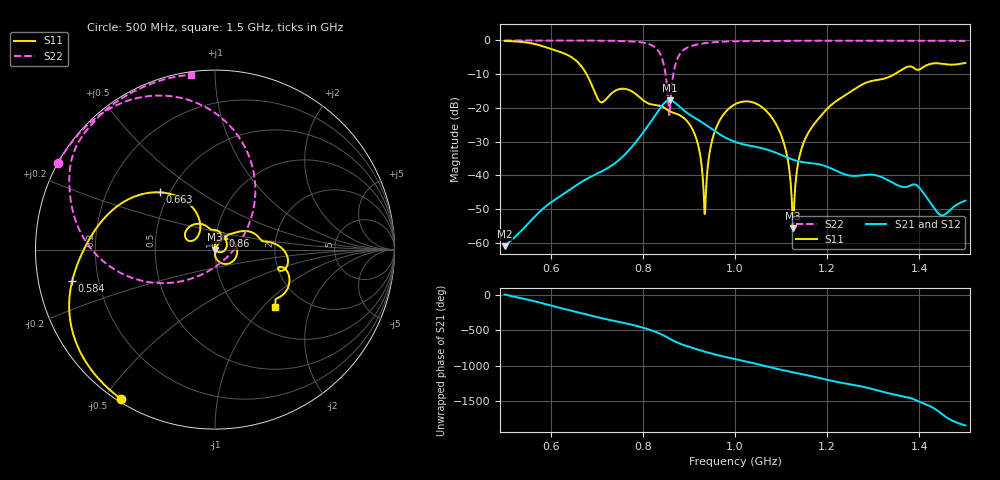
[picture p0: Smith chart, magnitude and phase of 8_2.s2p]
! TOUCHSTONE file generated by CST MICROWAVE STUDIO
! Date and time: Wed Oct 28 19:34:32 2020
! Project name: Scenario_1_Circular_Tissue_out_of_Line_v2.cst
! Parameters = {dy1=-224.9; L_HA=400; MT=2.54; Rad_Dielectric=30; Rad_Lower=7.3; Rad_Upper=30; a_HA=580; a_WG=246; b_HA=500; b_WG=121; c_HA=0; c_WG=187; d_feed=85; dx1=346; h_feed=15; h_lower=18; h_upper=40}
! Header version: 2018
! Port assignment regex: !\s*Touchstone port\s*([0-9]+)\s*=\s*(CST MWS port|CST DS port)\s*([0-9]+|Zmin|Zmax)\s*\(\"(.*)\"\)(\s*mode\s*([0-9]+))?.*
! Touchstone port assignment:
! Touchstone port 1 = CST MWS port 1 ("")
! Touchstone port 2 = CST MWS port 2 ("")
# GHz S DB R 50
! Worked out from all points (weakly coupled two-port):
!   1003 points, 500 MHz to 1.5 GHz, reference 50 ohm
!   highest |S21| = -17.73 dB at 858 MHz (marker M1); lowest = -61.0 dB at 500 MHz (marker M2)
!   lowest |S11| = -55.7 dB at 1.126 GHz (marker M3), VSWR 1.00, Z = 50.2 - j0.0457 ohm
!   |S11| at or under -10 dB: 677.8 MHz to 1.346 GHz (668.4 MHz wide, 66 % of centre)
!   |S22| runs from -22.1 to 0.0 dB; largest |S21 - S12| = 2.7e-06
!   S11 on the Smith chart (normalised r, x): 500 MHz: 0.01, -0.55; 584 MHz: 0.10, -0.11; 663 MHz: 0.44, +0.35; 860 MHz: 1.08, +0.16; 1.5 GHz: 1.44, -1.17
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0.5  -0.15 -122.3  -60.96 10.1  -60.96 10.1  -0.01 151.1
0.584  -1.77 -167.6  -49.78 -117.3  -49.78 -117.3  -0.02 145.3
0.663  -7.06 134.0  -42.29 110.6  -42.29 110.6  -0.04 138.8
0.667  -7.73 130.2  -41.94 103.9  -41.94 103.9  -0.04 138.4
0.708  -18.26 139.2  -38.98 37.9  -38.98 37.9  -0.07 133.9
0.789  -16.38 114.1  -29.39 -79.3  -29.39 -79.3  -0.45 117.3
0.834  -19.27 88.0  -20.74 -175.9  -20.74 -175.9  -3.17 83.1
0.858  -20.99 61.3  -17.73 103.8  -17.73 103.8  -22.01 -64.9
0.86  -21.13 59.5  -17.76 96.5  -17.76 96.5  -18.19 -106.0
0.876  -21.91 40.6  -19.19 45.5  -19.19 45.5  -5.08 -167.6
0.911  -27.27 -16.1  -22.81 -33.6  -22.81 -33.6  -1.42 161.2
0.934  -51.45 10.3  -24.76 -79.5  -24.76 -79.5  -0.84 153.4
0.956  -27.03 79.7  -26.83 -119.2  -26.83 -119.2  -0.51 148.0
1  -18.92 18.4  -30.05 174.5  -30.05 174.5  -0.25 140.3
1.087  -24.33 -77.2  -33.17 41.6  -33.17 41.6  -0.14 131.0
1.111  -32.98 -92.3  -34.54 6.1  -34.54 6.1  -0.11 128.8
1.126  -55.67 -16.1  -35.33 -14.1  -35.33 -14.1  -0.10 127.5
1.142  -33.23 62.8  -35.92 -34.7  -35.92 -34.7  -0.10 126.2
1.167  -25.66 57.3  -36.37 -68.9  -36.37 -68.9  -0.10 124.2
1.334  -10.83 8.9  -41.54 48.5  -41.54 48.5  -0.08 111.5
1.447  -6.87 -34.1  -51.80 125.8  -51.80 125.8  -0.11 102.5
1.5  -6.69 -43.8  -47.47 -47.5  -47.47 -47.5  -0.14 97.9
